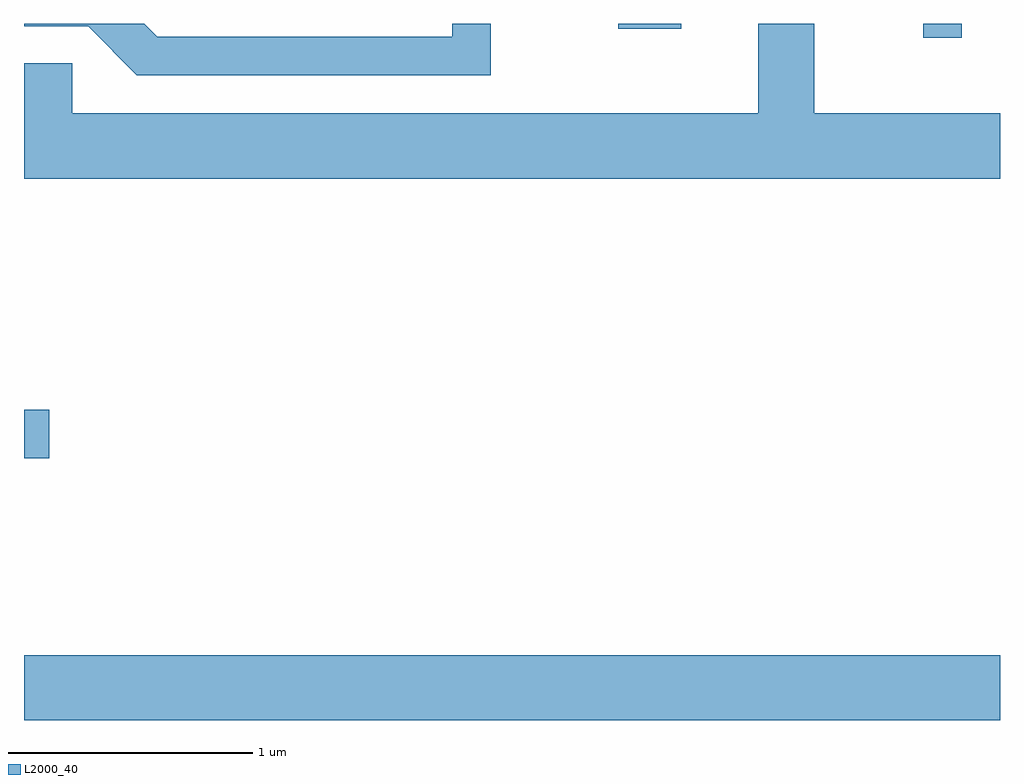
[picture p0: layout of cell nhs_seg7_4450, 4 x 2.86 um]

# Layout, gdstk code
import gdstk
lib = gdstk.Library(unit=1e-6, precision=1e-09)
def R(c, l, rs):  # rectangles x0, y0, x1, y1
    for r in rs: c.add(gdstk.rectangle(r[:2], r[2:], *l))
def P(c, l, *ps):  # polygons
    for p in ps: c.add(gdstk.Polygon(p, *l))
L2000_40 = (2000, 40)

nhs_seg7_4450 = lib.new_cell('nhs_seg7_4450')
R(nhs_seg7_4450, L2000_40, [(321.611,1745.396,325.611,1745.664), (321.611,1746.471,321.714,1746.669), (325.296,1748.193,325.454,1748.252), (324.046,1748.231,324.304,1748.252)])
P(nhs_seg7_4450, L2000_40, [(325.611,1747.884),(324.849,1747.884),(324.849,1748.252),(324.621,1748.252),(324.621,1747.884),(321.809,1747.884),(321.809,1748.089),(321.611,1748.089),(321.611,1747.616),(325.611,1747.616)],
  [(323.524,1748.252),(323.366,1748.252),(323.366,1748.199),(322.157,1748.199),(322.104,1748.252),(321.611,1748.252),(321.611,1748.241),(321.874,1748.241),(322.074,1748.041),(323.524,1748.041)])

lib.write_gds('nhs_seg7_4450.gds')
